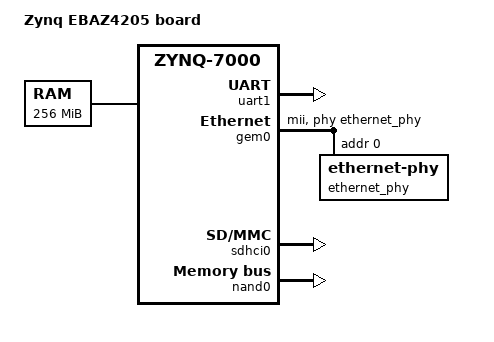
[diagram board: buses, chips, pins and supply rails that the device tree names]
/dts-v1/;
#include "zynq-7000.dtsi"

/ {
	model = "Zynq EBAZ4205 board";
	compatible = "xlnx,zynq-ebaz4205", "xlnx,zynq-7000";

	aliases {
		ethernet0 = &gem0;
		serial0 = &uart1;
		mmc0 = &sdhci0;
		nand0 = &nand0;
	};

	memory@0 {
		device_type = "memory";
		reg = <0 0x10000000>;
	};

	chosen {
		bootargs = "earlyprintk";
		stdout-path = "serial0:115200n8";
	};
};

&clkc {
	u-boot,dm-pre-reloc;
	ps-clk-frequency = <33333333>;
};

&uart1 {
	u-boot,dm-pre-reloc;
	status = "okay";
};

&gem0 {
	status = "okay";
	phy-mode = "mii";
	local-mac-address = [00 11 22 33 44 55];
	phy-handle = <&ethernet_phy>;

	assigned-clocks = <&clkc 16>;
	assigned-clock-rates = <25000000>;

	ethernet_phy: ethernet-phy@0 {
		reg = <0>;
	};
};

&sdhci0 {
	u-boot,dm-pre-reloc;
	status = "okay";
};

&nand0 {
	status = "okay";
};
